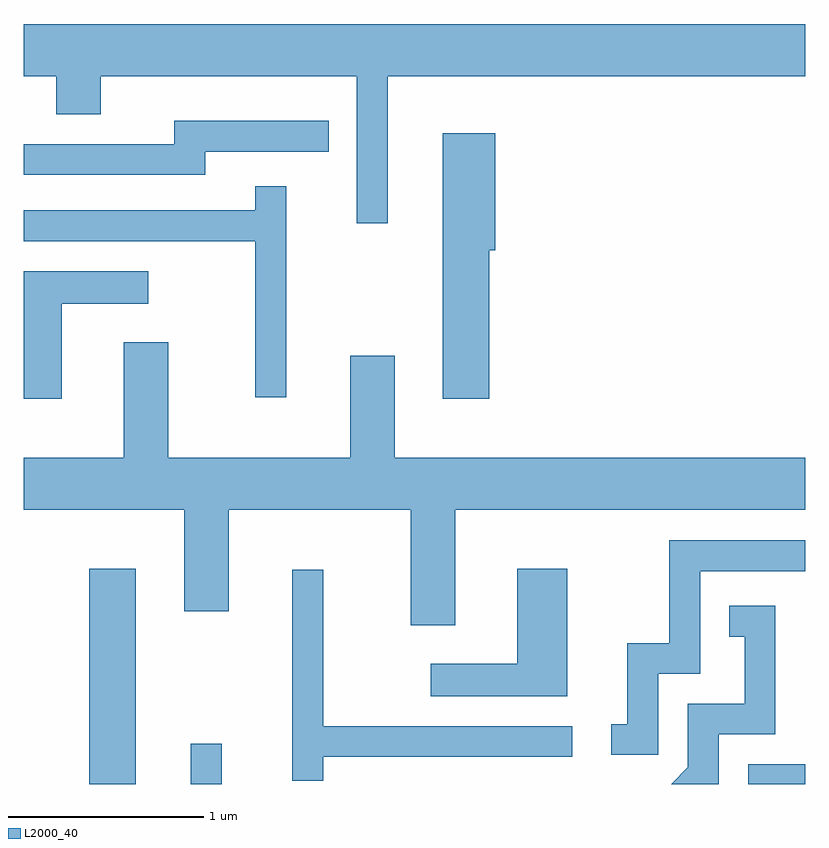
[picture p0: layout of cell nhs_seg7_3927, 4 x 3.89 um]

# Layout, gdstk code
import gdstk
lib = gdstk.Library(unit=1e-6, precision=1e-09)
def R(c, l, rs):  # rectangles x0, y0, x1, y1
    for r in rs: c.add(gdstk.rectangle(r[:2], r[2:], *l))
def P(c, l, *ps):  # polygons
    for p in ps: c.add(gdstk.Polygon(p, *l))
L2000_40 = (2000, 40)

nhs_seg7_3927 = lib.new_cell('nhs_seg7_3927')
R(nhs_seg7_3927, L2000_40, [(305.946,1706.252,306.184,1707.354), (306.466,1706.252,306.624,1706.458), (309.321,1706.252,309.611,1706.354)])
P(nhs_seg7_3927, L2000_40, [(307.474,1709.876),(309.611,1709.876),(309.611,1710.144),(305.611,1710.144),(305.611,1709.876),(305.776,1709.876),(305.776,1709.681),(306.004,1709.681),(306.004,1709.876),(307.316,1709.876),(307.316,1709.123),(307.474,1709.123)],
  [(306.539,1709.491),(307.173,1709.491),(307.173,1709.649),(306.381,1709.649),(306.381,1709.529),(305.611,1709.529),(305.611,1709.371),(306.539,1709.371)],
  [(307.994,1708.986),(308.024,1708.986),(308.024,1709.584),(307.756,1709.584),(307.756,1708.226),(307.994,1708.226)],
  [(306.954,1709.313),(306.796,1709.313),(306.796,1709.189),(305.611,1709.189),(305.611,1709.031),(306.796,1709.031),(306.796,1708.233),(306.954,1708.233)],
  [(305.804,1708.711),(306.248,1708.711),(306.248,1708.879),(305.611,1708.879),(305.611,1708.226),(305.804,1708.226)],
  [(307.509,1708.444),(307.281,1708.444),(307.281,1707.924),(306.349,1707.924),(306.349,1708.514),(306.121,1708.514),(306.121,1707.924),(305.611,1707.924),(305.611,1707.656),(306.431,1707.656),(306.431,1707.136),(306.659,1707.136),(306.659,1707.656),(307.591,1707.656),(307.591,1707.066),(307.819,1707.066),(307.819,1707.656),(309.611,1707.656),(309.611,1707.924),(307.509,1707.924)],
  [(308.859,1706.816),(309.074,1706.816),(309.074,1707.341),(309.611,1707.341),(309.611,1707.499),(308.916,1707.499),(308.916,1706.974),(308.701,1706.974),(308.701,1706.559),(308.618,1706.559),(308.618,1706.401),(308.859,1706.401)],
  [(308.394,1707.354),(308.136,1707.354),(308.136,1706.869),(307.693,1706.869),(307.693,1706.701),(308.394,1706.701)],
  [(307.144,1706.391),(308.418,1706.391),(308.418,1706.549),(307.144,1706.549),(307.144,1707.348),(306.986,1707.348),(306.986,1706.268),(307.144,1706.268)],
  [(309.169,1706.506),(309.459,1706.506),(309.459,1707.164),(309.223,1707.164),(309.223,1707.006),(309.301,1707.006),(309.301,1706.664),(309.011,1706.664),(309.011,1706.337),(308.927,1706.252),(309.169,1706.252)])

lib.write_gds('nhs_seg7_3927.gds')
